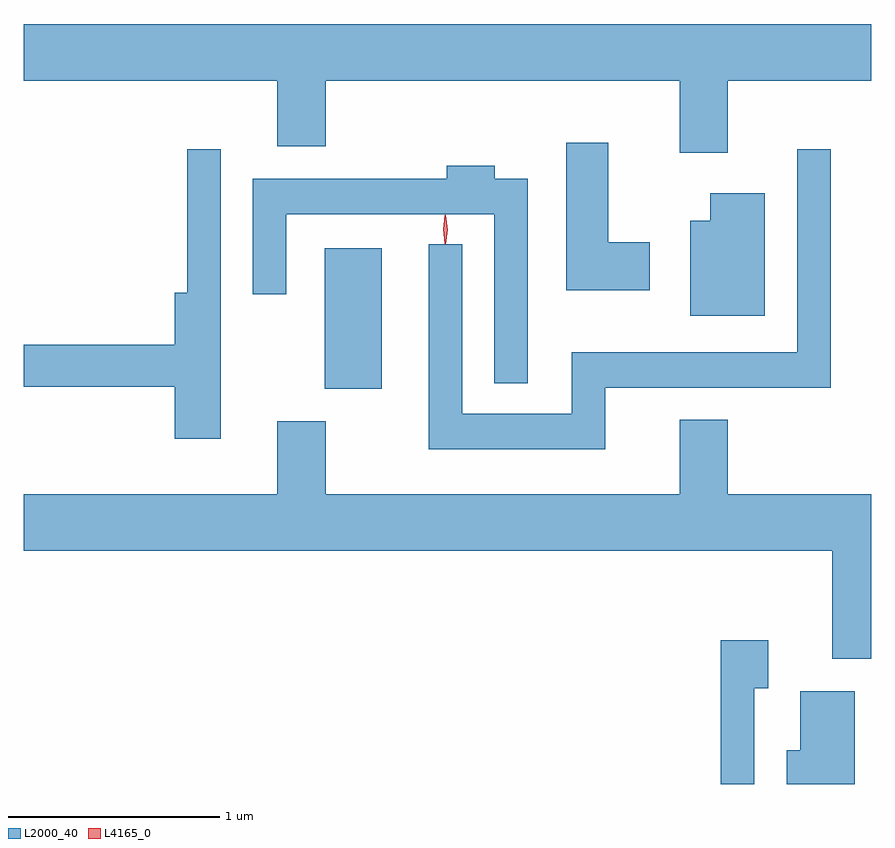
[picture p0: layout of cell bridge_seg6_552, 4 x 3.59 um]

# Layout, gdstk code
import gdstk
lib = gdstk.Library(unit=1e-6, precision=1e-09)
def R(c, l, rs):  # rectangles x0, y0, x1, y1
    for r in rs: c.add(gdstk.rectangle(r[:2], r[2:], *l))
def P(c, l, *ps):  # polygons
    for p in ps: c.add(gdstk.Polygon(p, *l))
L2000_40 = (2000, 40)
L4165_0 = (4165, 0)

bridge_seg6_552 = lib.new_cell('bridge_seg6_552')
R(bridge_seg6_552, L2000_40, [(483.886,1666.241,484.154,1666.904)])
P(bridge_seg6_552, L2000_40, [(485.789,1667.696),(486.465,1667.696),(486.465,1667.964),(482.465,1667.964),(482.465,1667.696),(483.661,1667.696),(483.661,1667.386),(483.889,1667.386),(483.889,1667.696),(485.561,1667.696),(485.561,1667.356),(485.789,1667.356)],
  [(485.419,1666.934),(485.224,1666.934),(485.224,1667.404),(485.026,1667.404),(485.026,1666.706),(485.419,1666.706)],
  [(483.394,1667.373),(483.236,1667.373),(483.236,1666.694),(483.176,1666.694),(483.176,1666.449),(482.465,1666.449),(482.465,1666.251),(483.176,1666.251),(483.176,1666.006),(483.394,1666.006)],
  [(485.209,1666.246),(486.274,1666.246),(486.274,1667.373),(486.116,1667.373),(486.116,1666.414),(485.051,1666.414),(485.051,1666.124),(484.534,1666.124),(484.534,1666.923),(484.376,1666.923),(484.376,1665.956),(485.209,1665.956)],
  [(484.844,1667.234),(484.689,1667.234),(484.689,1667.294),(484.461,1667.294),(484.461,1667.234),(483.546,1667.234),(483.546,1666.688),(483.704,1666.688),(483.704,1667.066),(484.686,1667.066),(484.686,1666.268),(484.844,1666.268)],
  [(485.964,1667.164),(485.706,1667.164),(485.706,1667.034),(485.611,1667.034),(485.611,1666.586),(485.964,1666.586)],
  [(485.561,1666.094),(485.561,1665.744),(483.889,1665.744),(483.889,1666.089),(483.661,1666.089),(483.661,1665.744),(482.465,1665.744),(482.465,1665.476),(486.281,1665.476),(486.281,1664.966),(486.465,1664.966),(486.465,1665.744),(485.789,1665.744),(485.789,1666.094)],
  [(485.914,1664.826),(485.979,1664.826),(485.979,1665.054),(485.756,1665.054),(485.756,1664.375),(485.914,1664.375)],
  [(486.389,1664.814),(486.131,1664.814),(486.131,1664.534),(486.066,1664.534),(486.066,1664.375),(486.389,1664.375)])
P(bridge_seg6_552, L4165_0, [(484.453,1666.927),(484.444,1666.994),(484.453,1667.06),(484.454,1667.06),(484.454,1667.06),(484.464,1666.994),(484.454,1666.927),(484.454,1666.927)],
  [(484.454,1666.924),(484.445,1666.993),(484.454,1667.062),(484.455,1667.063),(484.456,1667.062),(484.465,1666.993),(484.456,1666.924),(484.455,1666.924)])

lib.write_gds('bridge_seg6_552.gds')
